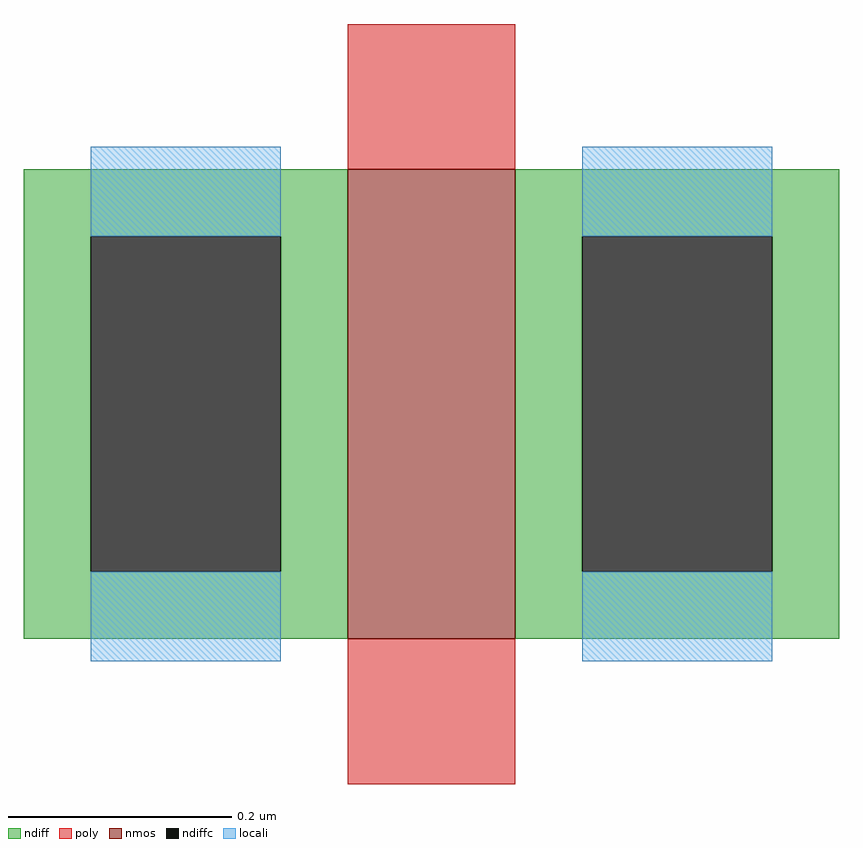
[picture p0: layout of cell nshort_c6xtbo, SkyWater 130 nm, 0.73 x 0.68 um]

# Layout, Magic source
magic
tech sky130A
magscale 1 2
<< nmos >>
rect -15 -42 15 42
<< ndiff >>
rect -73 30 -15 42
rect -73 -30 -61 30
rect -27 -30 -15 30
rect -73 -42 -15 -30
rect 15 30 73 42
rect 15 -30 27 30
rect 61 -30 73 30
rect 15 -42 73 -30
<< ndiffc >>
rect -61 -30 -27 30
rect 27 -30 61 30
<< poly >>
rect -15 42 15 68
rect -15 -68 15 -42
<< locali >>
rect -61 30 -27 46
rect -61 -46 -27 -30
rect 27 30 61 46
rect 27 -46 61 -30
<< properties >>
string gencell nshort
string parameters w 0.420 l 0.15 m 1 nf 1 diffcov 100 polycov 100 guard 0 glc 1 grc 1 gtc 1 gbc 1 tbcov 100 rlcov 100 topc 0 botc 0 poverlap 0 doverlap 0 lmin 0.15 wmin 0.42 compatible {nshort nlowvt sonos_e nhv nhvnative} full_metal 0
string library sky130
<< end >>
